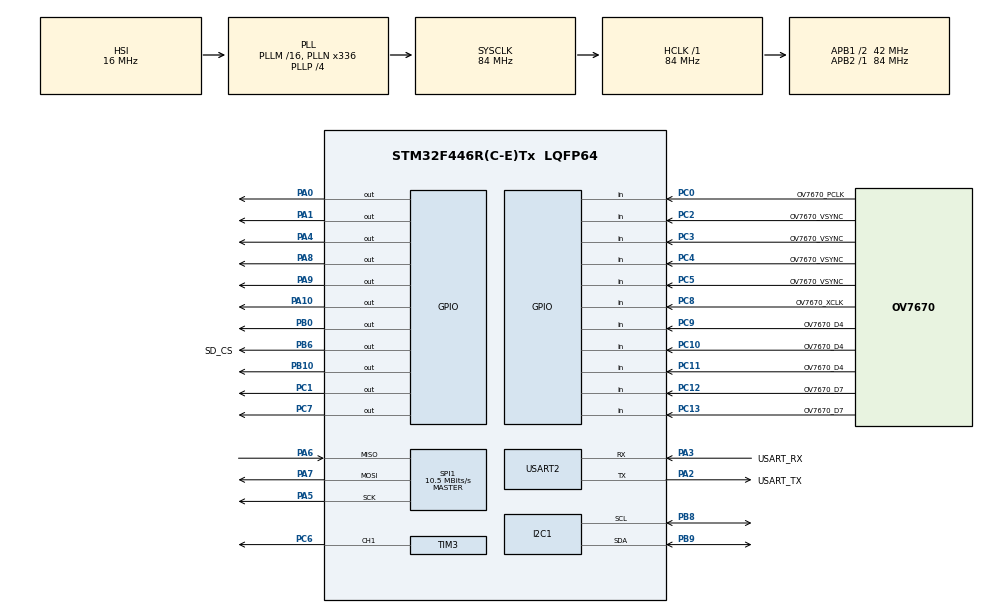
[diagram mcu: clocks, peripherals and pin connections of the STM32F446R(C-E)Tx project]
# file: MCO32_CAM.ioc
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FATFS._MAX_SS=4096
FATFS._USE_LFN=1
I2C1.I2C_Mode=I2C_Fast
Mcu.Family=STM32F4
Mcu.Name=STM32F446R(C-E)Tx
Mcu.Package=LQFP64
NVIC.PriorityGroup=NVIC_PRIORITYGROUP_0
PA0-WKUP.Signal=GPIO_Output
PA1.Signal=GPIO_Output
PA10.Signal=GPIO_Output
PA13.GPIO_Label=TMS
PA13.Mode=Serial_Wire
PA13.Signal=SYS_JTMS-SWDIO
PA14.GPIO_Label=TCK
PA14.Mode=Serial_Wire
PA14.Signal=SYS_JTCK-SWCLK
PA2.GPIO_Label=USART_TX
PA2.Mode=Asynchronous
PA2.Signal=USART2_TX
PA3.GPIO_Label=USART_RX
PA3.Mode=Asynchronous
PA3.Signal=USART2_RX
PA4.Signal=GPIO_Output
PA5.Mode=Full_Duplex_Master
PA5.Signal=SPI1_SCK
PA6.Mode=Full_Duplex_Master
PA6.Signal=SPI1_MISO
PA7.Mode=Full_Duplex_Master
PA7.Signal=SPI1_MOSI
PA8.Signal=GPIO_Output
PA9.Signal=GPIO_Output
PB0.Signal=GPIO_Output
PB10.Signal=GPIO_Output
PB3.GPIO_Label=SWO
PB3.Signal=SYS_JTDO-SWO
PB6.GPIO_Label=SD_CS
PB6.GPIO_Speed=GPIO_SPEED_FREQ_MEDIUM
PB6.PinState=GPIO_PIN_SET
PB6.Signal=GPIO_Output
PB8.GPIO_Pu=GPIO_PULLUP
PB8.Mode=I2C
PB8.Signal=I2C1_SCL
PB9.GPIO_Pu=GPIO_PULLUP
PB9.Mode=I2C
PB9.Signal=I2C1_SDA
PC0.GPIO_Label=OV7670_PCLK
PC0.Signal=GPIO_Input
PC1.Signal=GPIO_Output
PC10.GPIO_Label=OV7670_D4
PC10.Signal=GPIO_Input
PC11.GPIO_Label=OV7670_D4
PC11.Signal=GPIO_Input
PC12.GPIO_Label=OV7670_D7
PC12.Signal=GPIO_Input
PC13.GPIO_Label=OV7670_D7
PC13.Signal=GPIO_Input
PC14-OSC32_IN.Mode=LSE-External-Oscillator
PC14-OSC32_IN.Signal=RCC_OSC32_IN
PC15-OSC32_OUT.Mode=LSE-External-Oscillator
PC15-OSC32_OUT.Signal=RCC_OSC32_OUT
PC2.GPIO_Label=OV7670_VSYNC
PC2.Signal=GPIO_Input
PC3.GPIO_Label=OV7670_VSYNC
PC3.Signal=GPIO_Input
PC4.GPIO_Label=OV7670_VSYNC
PC4.Signal=GPIO_Input
PC5.GPIO_Label=OV7670_VSYNC
PC5.Signal=GPIO_Input
PC6.Signal=S_TIM3_CH1
PC7.Signal=GPIO_Output
PC8.GPIO_Label=OV7670_XCLK
PC8.Signal=GPIO_Input
PC9.GPIO_Label=OV7670_D4
PC9.Signal=GPIO_Input
PH0-OSC_IN.Mode=HSE-External-Oscillator
PH0-OSC_IN.Signal=RCC_OSC_IN
PH1-OSC_OUT.Mode=HSE-External-Oscillator
PH1-OSC_OUT.Signal=RCC_OSC_OUT
ProjectManager.HeapSize=0x200
ProjectManager.StackSize=0x400
ProjectManager.TargetToolchain=STM32CubeIDE
RCC.48MHZClocksFreq_Value=84000000
RCC.AHBFreq_Value=84000000
RCC.APB1CLKDivider=RCC_HCLK_DIV2
RCC.APB1Freq_Value=42000000
RCC.APB1TimFreq_Value=84000000
RCC.APB2Freq_Value=84000000
RCC.APB2TimFreq_Value=84000000
RCC.CortexFreq_Value=84000000
RCC.FLatency-AdvancedSettings=FLASH_LATENCY_2
RCC.HCLKFreq_Value=84000000
RCC.HSE_VALUE=8000000
RCC.HSI_VALUE=16000000
RCC.PLLN=336
RCC.PLLP=RCC_PLLP_DIV4
RCC.SYSCLKFreq_VALUE=84000000
RCC.SYSCLKSource=RCC_SYSCLKSOURCE_PLLCLK
RCC.USBFreq_Value=168000000
RCC.VCOOutputFreq_Value=336000000
SH.S_TIM3_CH1.0=TIM3_CH1,PWM Generation1 CH1
SPI1.BaudRatePrescaler=SPI_BAUDRATEPRESCALER_8
SPI1.CalculateBaudRate=10.5 MBits/s
SPI1.Direction=SPI_DIRECTION_2LINES
SPI1.Mode=SPI_MODE_MASTER
SPI1.VirtualType=VM_MASTER
TIM1.AutoReloadPreload=TIM_AUTORELOAD_PRELOAD_ENABLE
TIM1.Period=0xFFFF-1
TIM1.Prescaler=84-1
TIM3.Channel-PWM\ Generation1\ CH1=TIM_CHANNEL_1
TIM3.Period=7
USART2.VirtualMode=VM_ASYNC
VP_FATFS_VS_Generic.Mode=User_defined
VP_TIM1_VS_ClockSourceINT.Mode=Internal
VP_TIM3_VS_ClockSourceINT.Mode=Internal
board=NUCLEO-F446RE

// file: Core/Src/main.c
/* USER CODE BEGIN Header */
/**
  ******************************************************************************
  * @file           : main.c
  * @brief          : Main program body
  ******************************************************************************
  * @attention
  *
  * Copyright (c) 2022 STMicroelectronics.
  * All rights reserved.
  *
  * This software is licensed under terms that can be found in the LICENSE file
  * in the root directory of this software component.
  * If no LICENSE file comes with this software, it is provided AS-IS.
  *
  ******************************************************************************
  */
/* USER CODE END Header */
#include "main.h"
#include "fatfs.h"

/* USER CODE BEGIN Includes */
/* LCD */
#include "fonts.h"
#include "tft.h"
#include "user_setting.h"
#include "functions.h"
/* SD */
#include "fatfs_sd.h"
#include <string.h>
#include <stdio.h>
/* CAM */
#include "Camera_OV7670.h"
/* USER CODE END Includes */

/* USER CODE BEGIN PTD */
//#define RGB //Definido em Camera_OV7670.h
//#define W320H240 //Definido em Camera_OV7670.h
#ifdef W320H240
#define W 320
#define H 240
#else
#define W 160
#define H 120
#endif
/* USER CODE END PTD */

I2C_HandleTypeDef hi2c1;

SPI_HandleTypeDef hspi1;

TIM_HandleTypeDef htim1;
TIM_HandleTypeDef htim3;

UART_HandleTypeDef huart2;

void SystemClock_Config(void);
static void MX_GPIO_Init(void);
static void MX_USART2_UART_Init(void);
static void MX_TIM1_Init(void);
static void MX_SPI1_Init(void);
static void MX_I2C1_Init(void);
static void MX_TIM3_Init(void);
/* USER CODE BEGIN PFP */
void LCD_TxBMP(unsigned char* data, unsigned int BitmapStart);
/* USER CODE END PFP */

/* USER CODE BEGIN 0 */
FATFS fs0, fs1; /* Work area (filesystem object) for
logical drives */
FIL fsrc, fdst; /* File objects */
BYTE buffer[4096]; /* File copy buffer */
FRESULT fr; /* FatFs function common result code */
UINT br, bw; /* File read/write count */

uint16_t ID = 0; //ID do display

/* USER CODE END 0 */

int main(void)
{
  /* USER CODE BEGIN 1 */
	int32_t i;
  /* USER CODE END 1 */

  /* MCU Configuration--------------------------------------------------------*/

  /* Reset of all peripherals, Initializes the Flash interface and the Systick. */
  HAL_Init();

  /* Configure the system clock */
  SystemClock_Config();

  /* Initialize all configured peripherals */
  MX_GPIO_Init();
  MX_USART2_UART_Init();
  MX_TIM1_Init();
  MX_SPI1_Init();
  MX_FATFS_Init();
  MX_I2C1_Init();
  MX_TIM3_Init();
  /* USER CODE BEGIN 2 */

  //Sequência de inicialização do LCD
  tft_gpio_init(); //Inicializa os GPIOs do LCD (evita uso do CubeMX)
  HAL_TIM_Base_Start(&htim1); //Inicializa o Timer1 (base de tempo de us do LCD)
  ID = tft_readID(); //Lê o ID do LCD (poderia ser chamada pela inicialização do LCD)
  HAL_Delay(100);
  tft_init (ID); //Inicializa o LCD de acordo com seu ID
  setRotation(3); //Ajusta a orientação da tela
  fillScreen(BLACK); //Preenche a tela em uma só cor
  //Mensagem inicial
  HAL_UART_Transmit(&huart2, (uint8_t *)"Este programa recebe os pixels de uma camera OV7670 conectada\r\n", 66, 100);
  HAL_UART_Transmit(&huart2, (uint8_t *)"nos GPIOs e envia para display LCD TFT\r\n", 66, 100);
  //Plota molduras no LCD
  for(i=0; i<8; i++)
  { //x y w h color
	  drawRect(i*20, i*15, 320-(2*(i*20)), 240-(2*(i*15)), WHITE);
	  HAL_Delay(100);
  }
  //Liga o PWM
  HAL_TIM_PWM_Start(&htim3, TIM_CHANNEL_1);
  htim3.Instance->CCR1 = 4; //Define o duty_cycle em aprox. 50%
  //Configura a câmera OV7670
  setup(&hi2c1, &huart2);

  /* USER CODE END 2 */

  /* Infinite loop */
  /* USER CODE BEGIN WHILE */
  while (1)
  {
	  if(W==320)
		  setAddrWindow(0, 0, W, H);
	  else
		  setAddrWindow(80, 60, W+80-1, H+60-1);
	  inicioDados();
	  loop();
	  fimDados();
    /* USER CODE END WHILE */

  }
}

void SystemClock_Config(void)
{
  RCC_OscInitTypeDef RCC_OscInitStruct = {0};
  RCC_ClkInitTypeDef RCC_ClkInitStruct = {0};

  /** Configure the main internal regulator output voltage
  */
  __HAL_RCC_PWR_CLK_ENABLE();
  __HAL_PWR_VOLTAGESCALING_CONFIG(PWR_REGULATOR_VOLTAGE_SCALE3);

  /** Initializes the RCC Oscillators according to the specified parameters
  * in the RCC_OscInitTypeDef structure.
  */
  RCC_OscInitStruct.OscillatorType = RCC_OSCILLATORTYPE_HSI;
  RCC_OscInitStruct.HSIState = RCC_HSI_ON;
  RCC_OscInitStruct.HSICalibrationValue = RCC_HSICALIBRATION_DEFAULT;
  RCC_OscInitStruct.PLL.PLLState = RCC_PLL_ON;
  RCC_OscInitStruct.PLL.PLLSource = RCC_PLLSOURCE_HSI;
  RCC_OscInitStruct.PLL.PLLM = 16;
  RCC_OscInitStruct.PLL.PLLN = 336;
  RCC_OscInitStruct.PLL.PLLP = RCC_PLLP_DIV4;
  RCC_OscInitStruct.PLL.PLLQ = 2;
  RCC_OscInitStruct.PLL.PLLR = 2;
  if (HAL_RCC_OscConfig(&RCC_OscInitStruct) != HAL_OK)
  {
    Error_Handler();
  }

  /** Initializes the CPU, AHB and APB buses clocks
  */
  RCC_ClkInitStruct.ClockType = RCC_CLOCKTYPE_HCLK|RCC_CLOCKTYPE_SYSCLK
                              |RCC_CLOCKTYPE_PCLK1|RCC_CLOCKTYPE_PCLK2;
  RCC_ClkInitStruct.SYSCLKSource = RCC_SYSCLKSOURCE_PLLCLK;
  RCC_ClkInitStruct.AHBCLKDivider = RCC_SYSCLK_DIV1;
  RCC_ClkInitStruct.APB1CLKDivider = RCC_HCLK_DIV2;
  RCC_ClkInitStruct.APB2CLKDivider = RCC_HCLK_DIV1;

  if (HAL_RCC_ClockConfig(&RCC_ClkInitStruct, FLASH_LATENCY_2) != HAL_OK)
  {
    Error_Handler();
  }
}

static void MX_I2C1_Init(void)
{

  hi2c1.Instance = I2C1;
  hi2c1.Init.ClockSpeed = 400000;
  hi2c1.Init.DutyCycle = I2C_DUTYCYCLE_2;
  hi2c1.Init.OwnAddress1 = 0;
  hi2c1.Init.AddressingMode = I2C_ADDRESSINGMODE_7BIT;
  hi2c1.Init.DualAddressMode = I2C_DUALADDRESS_DISABLE;
  hi2c1.Init.OwnAddress2 = 0;
  hi2c1.Init.GeneralCallMode = I2C_GENERALCALL_DISABLE;
  hi2c1.Init.NoStretchMode = I2C_NOSTRETCH_DISABLE;
  if (HAL_I2C_Init(&hi2c1) != HAL_OK)
  {
    Error_Handler();
  }

}

static void MX_SPI1_Init(void)
{

  /* SPI1 parameter configuration*/
  hspi1.Instance = SPI1;
  hspi1.Init.Mode = SPI_MODE_MASTER;
  hspi1.Init.Direction = SPI_DIRECTION_2LINES;
  hspi1.Init.DataSize = SPI_DATASIZE_8BIT;
  hspi1.Init.CLKPolarity = SPI_POLARITY_LOW;
  hspi1.Init.CLKPhase = SPI_PHASE_1EDGE;
  hspi1.Init.NSS = SPI_NSS_SOFT;
  hspi1.Init.BaudRatePrescaler = SPI_BAUDRATEPRESCALER_8;
  hspi1.Init.FirstBit = SPI_FIRSTBIT_MSB;
  hspi1.Init.TIMode = SPI_TIMODE_DISABLE;
  hspi1.Init.CRCCalculation = SPI_CRCCALCULATION_DISABLE;
  hspi1.Init.CRCPolynomial = 10;
  if (HAL_SPI_Init(&hspi1) != HAL_OK)
  {
    Error_Handler();
  }

}

static void MX_TIM1_Init(void)
{

  TIM_ClockConfigTypeDef sClockSourceConfig = {0};
  TIM_MasterConfigTypeDef sMasterConfig = {0};

  htim1.Instance = TIM1;
  htim1.Init.Prescaler = 84-1;
  htim1.Init.CounterMode = TIM_COUNTERMODE_UP;
  htim1.Init.Period = 0xFFFF-1;
  htim1.Init.ClockDivision = TIM_CLOCKDIVISION_DIV1;
  htim1.Init.RepetitionCounter = 0;
  htim1.Init.AutoReloadPreload = TIM_AUTORELOAD_PRELOAD_ENABLE;
  if (HAL_TIM_Base_Init(&htim1) != HAL_OK)
  {
    Error_Handler();
  }
  sClockSourceConfig.ClockSource = TIM_CLOCKSOURCE_INTERNAL;
  if (HAL_TIM_ConfigClockSource(&htim1, &sClockSourceConfig) != HAL_OK)
  {
    Error_Handler();
  }
  sMasterConfig.MasterOutputTrigger = TIM_TRGO_RESET;
  sMasterConfig.MasterSlaveMode = TIM_MASTERSLAVEMODE_DISABLE;
  if (HAL_TIMEx_MasterConfigSynchronization(&htim1, &sMasterConfig) != HAL_OK)
  {
    Error_Handler();
  }

}

static void MX_TIM3_Init(void)
{

  TIM_ClockConfigTypeDef sClockSourceConfig = {0};
  TIM_MasterConfigTypeDef sMasterConfig = {0};
  TIM_OC_InitTypeDef sConfigOC = {0};

  htim3.Instance = TIM3;
  htim3.Init.Prescaler = 0;
  htim3.Init.CounterMode = TIM_COUNTERMODE_UP;
  htim3.Init.Period = 7;
  htim3.Init.ClockDivision = TIM_CLOCKDIVISION_DIV1;
  htim3.Init.AutoReloadPreload = TIM_AUTORELOAD_PRELOAD_DISABLE;
  if (HAL_TIM_Base_Init(&htim3) != HAL_OK)
  {
    Error_Handler();
  }
  sClockSourceConfig.ClockSource = TIM_CLOCKSOURCE_INTERNAL;
  if (HAL_TIM_ConfigClockSource(&htim3, &sClockSourceConfig) != HAL_OK)
  {
    Error_Handler();
  }
  if (HAL_TIM_PWM_Init(&htim3) != HAL_OK)
  {
    Error_Handler();
  }
  sMasterConfig.MasterOutputTrigger = TIM_TRGO_RESET;
  sMasterConfig.MasterSlaveMode = TIM_MASTERSLAVEMODE_DISABLE;
  if (HAL_TIMEx_MasterConfigSynchronization(&htim3, &sMasterConfig) != HAL_OK)
  {
    Error_Handler();
  }
  sConfigOC.OCMode = TIM_OCMODE_PWM1;
  sConfigOC.Pulse = 0;
  sConfigOC.OCPolarity = TIM_OCPOLARITY_HIGH;
  sConfigOC.OCFastMode = TIM_OCFAST_DISABLE;
  if (HAL_TIM_PWM_ConfigChannel(&htim3, &sConfigOC, TIM_CHANNEL_1) != HAL_OK)
  {
    Error_Handler();
  }
  HAL_TIM_MspPostInit(&htim3);

}

static void MX_USART2_UART_Init(void)
{

  huart2.Instance = USART2;
#ifdef software
  huart2.Init.BaudRate = 1000000;
#else
  huart2.Init.BaudRate = 115200;
#endif
  huart2.Init.WordLength = UART_WORDLENGTH_8B;
  huart2.Init.StopBits = UART_STOPBITS_1;
  huart2.Init.Parity = UART_PARITY_NONE;
  huart2.Init.Mode = UART_MODE_TX_RX;
  huart2.Init.HwFlowCtl = UART_HWCONTROL_NONE;
  huart2.Init.OverSampling = UART_OVERSAMPLING_16;
  if (HAL_UART_Init(&huart2) != HAL_OK)
  {
    Error_Handler();
  }

}

static void MX_GPIO_Init(void)
{
  GPIO_InitTypeDef GPIO_InitStruct = {0};

  /* GPIO Ports Clock Enable */
  __HAL_RCC_GPIOC_CLK_ENABLE();
  __HAL_RCC_GPIOH_CLK_ENABLE();
  __HAL_RCC_GPIOA_CLK_ENABLE();
  __HAL_RCC_GPIOB_CLK_ENABLE();

  /*Configure GPIO pin Output Level */
  HAL_GPIO_WritePin(GPIOC, GPIO_PIN_1|GPIO_PIN_7, GPIO_PIN_RESET);

  /*Configure GPIO pin Output Level */
  HAL_GPIO_WritePin(GPIOA, GPIO_PIN_0|GPIO_PIN_1|GPIO_PIN_4|GPIO_PIN_8
                          |GPIO_PIN_9|GPIO_PIN_10, GPIO_PIN_RESET);

  /*Configure GPIO pin Output Level */
  HAL_GPIO_WritePin(GPIOB, GPIO_PIN_0|GPIO_PIN_10, GPIO_PIN_RESET);

  /*Configure GPIO pin Output Level */
  HAL_GPIO_WritePin(SD_CS_GPIO_Port, SD_CS_Pin, GPIO_PIN_SET);

  /*Configure GPIO pins : OV7670_D7_Pin OV7670_PCLK_Pin OV7670_VSYNC_Pin OV7670_VSYNCC3_Pin
                           OV7670_VSYNCC4_Pin OV7670_VSYNCC5_Pin OV7670_XCLK_Pin OV7670_D4_Pin
                           OV7670_D4C10_Pin OV7670_D4C11_Pin OV7670_D7C12_Pin */
  GPIO_InitStruct.Pin = OV7670_D7_Pin|OV7670_PCLK_Pin|OV7670_VSYNC_Pin|OV7670_VSYNCC3_Pin
                          |OV7670_VSYNCC4_Pin|OV7670_VSYNCC5_Pin|OV7670_XCLK_Pin|OV7670_D4_Pin
                          |OV7670_D4C10_Pin|OV7670_D4C11_Pin|OV7670_D7C12_Pin;
  GPIO_InitStruct.Mode = GPIO_MODE_INPUT;
  GPIO_InitStruct.Pull = GPIO_NOPULL;
  HAL_GPIO_Init(GPIOC, &GPIO_InitStruct);

  /*Configure GPIO pins : PC1 PC7 */
  GPIO_InitStruct.Pin = GPIO_PIN_1|GPIO_PIN_7;
  GPIO_InitStruct.Mode = GPIO_MODE_OUTPUT_PP;
  GPIO_InitStruct.Pull = GPIO_NOPULL;
  GPIO_InitStruct.Speed = GPIO_SPEED_FREQ_LOW;
  HAL_GPIO_Init(GPIOC, &GPIO_InitStruct);

  /*Configure GPIO pins : PA0 PA1 PA4 PA8
                           PA9 PA10 */
  GPIO_InitStruct.Pin = GPIO_PIN_0|GPIO_PIN_1|GPIO_PIN_4|GPIO_PIN_8
                          |GPIO_PIN_9|GPIO_PIN_10;
  GPIO_InitStruct.Mode = GPIO_MODE_OUTPUT_PP;
  GPIO_InitStruct.Pull = GPIO_NOPULL;
  GPIO_InitStruct.Speed = GPIO_SPEED_FREQ_LOW;
  HAL_GPIO_Init(GPIOA, &GPIO_InitStruct);

  /*Configure GPIO pins : PB0 PB10 */
  GPIO_InitStruct.Pin = GPIO_PIN_0|GPIO_PIN_10;
  GPIO_InitStruct.Mode = GPIO_MODE_OUTPUT_PP;
  GPIO_InitStruct.Pull = GPIO_NOPULL;
  GPIO_InitStruct.Speed = GPIO_SPEED_FREQ_LOW;
  HAL_GPIO_Init(GPIOB, &GPIO_InitStruct);

  /*Configure GPIO pin : SD_CS_Pin */
  GPIO_InitStruct.Pin = SD_CS_Pin;
  GPIO_InitStruct.Mode = GPIO_MODE_OUTPUT_PP;
  GPIO_InitStruct.Pull = GPIO_NOPULL;
  GPIO_InitStruct.Speed = GPIO_SPEED_FREQ_MEDIUM;
  HAL_GPIO_Init(SD_CS_GPIO_Port, &GPIO_InitStruct);

}

void Error_Handler(void)
{
  __disable_irq();
  while (1)
  {
  }
}
